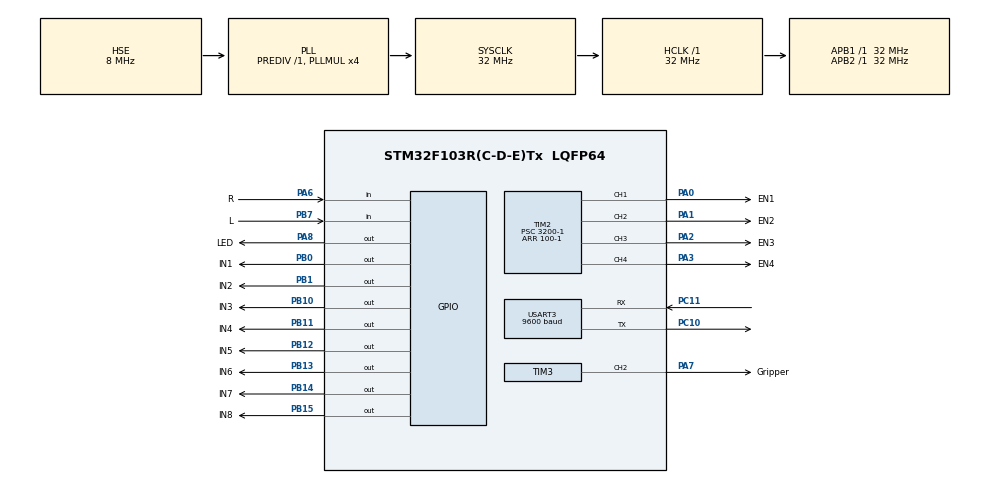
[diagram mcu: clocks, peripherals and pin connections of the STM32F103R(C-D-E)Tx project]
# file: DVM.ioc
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Mcu.Family=STM32F1
NVIC.USART3_IRQn=true\:0\:0\:false\:false\:true\:true\:true
PB10.GPIO_Speed=GPIO_SPEED_FREQ_MEDIUM
PC10.Signal=USART3_TX
PB14.GPIO_Label=IN7
PA6.GPIO_Label=R
PB0.GPIO_Label=IN1
TIM2.Channel-PWM\ Generation2\ CH2=TIM_CHANNEL_2
PB13.GPIO_Label=IN6
PB11.Signal=GPIO_Output
PB13.Signal=GPIO_Output
PB15.Signal=GPIO_Output
RCC.SYSCLKSource=RCC_SYSCLKSOURCE_PLLCLK
ProjectManager.StackSize=0x400
PD1-OSC_OUT.Signal=RCC_OSC_OUT
PB11.GPIO_Speed=GPIO_SPEED_FREQ_MEDIUM
USART3.BaudRate=9600
RCC.HCLKFreq_Value=32000000
RCC.APB2TimFreq_Value=32000000
TIM3.Period=10000-1
RCC.AHBFreq_Value=32000000
RCC.PLLMUL=RCC_PLL_MUL4
PB12.GPIO_Label=IN5
PA6.GPIO_PuPd=GPIO_PULLUP
PB1.GPIO_Speed=GPIO_SPEED_FREQ_MEDIUM
PA14.Mode=Serial_Wire
TIM3.Prescaler=32-1
PB1.GPIO_Label=IN2
NVIC.TIM2_IRQn=true\:0\:0\:false\:false\:true\:true\:true
PB7.Signal=GPIO_Input
PA8.Signal=GPIO_Output
TIM2.Channel-PWM\ Generation1\ CH1=TIM_CHANNEL_1
PB7.GPIO_Label=L
Mcu.Package=LQFP64
TIM2.Prescaler=3200-1
PB1.Signal=GPIO_Output
PA6.Signal=GPIO_Input
PA2.GPIO_Label=EN3
PC11.Mode=Asynchronous
RCC.APB1TimFreq_Value=32000000
TIM3.Pulse-PWM\ Generation2\ CH2=5000
PA8.GPIO_Speed=GPIO_SPEED_FREQ_MEDIUM
PA8.PinState=GPIO_PIN_SET
PA3.Signal=S_TIM2_CH4
PB7.GPIO_PuPd=GPIO_PULLUP
RCC.PLLSourceVirtual=RCC_PLLSOURCE_HSE
TIM2.Channel-PWM\ Generation4\ CH4=TIM_CHANNEL_4
PD1-OSC_OUT.Mode=HSE-External-Oscillator
PC11.Signal=USART3_RX
PC10.Mode=Asynchronous
PB11.GPIO_Label=IN4
PD0-OSC_IN.Signal=RCC_OSC_IN
PA0-WKUP.GPIO_Label=EN1
PA0-WKUP.Signal=S_TIM2_CH1_ETR
PB0.GPIO_Speed=GPIO_SPEED_FREQ_MEDIUM
PA13.Signal=SYS_JTMS-SWDIO
SH.S_TIM2_CH2.0=TIM2_CH2,PWM Generation2 CH2
PA8.GPIO_Label=LED
ProjectManager.TargetToolchain=Other Toolchains (GPDSC)
PB14.GPIO_Speed=GPIO_SPEED_FREQ_MEDIUM
PB10.GPIO_Label=IN3
PB13.GPIO_Speed=GPIO_SPEED_FREQ_MEDIUM
RCC.USBFreq_Value=32000000
PA1.Signal=S_TIM2_CH2
PB12.GPIO_Speed=GPIO_SPEED_FREQ_MEDIUM
PD0-OSC_IN.Mode=HSE-External-Oscillator
PB10.Signal=GPIO_Output
PB14.Signal=GPIO_Output
SH.S_TIM3_CH2.0=TIM3_CH2,PWM Generation2 CH2
board=custom
NVIC.TIM3_IRQn=true\:0\:0\:false\:false\:true\:true\:true
RCC.APB2Freq_Value=32000000
PB15.GPIO_Label=IN8
VP_TIM2_VS_ClockSourceINT.Mode=Internal
SH.S_TIM2_CH3.0=TIM2_CH3,PWM Generation3 CH3
PB15.GPIO_Speed=GPIO_SPEED_FREQ_MEDIUM
PA1.GPIO_Label=EN2
TIM2.Channel-PWM\ Generation3\ CH3=TIM_CHANNEL_3
TIM2.Period=100-1
PA13.Mode=Serial_Wire
Mcu.Name=STM32F103R(C-D-E)Tx
PA2.Signal=S_TIM2_CH3
RCC.SYSCLKFreq_VALUE=32000000
PA7.GPIO_Label=Gripper
USART3.VirtualMode=VM_ASYNC
SH.S_TIM2_CH1_ETR.0=TIM2_CH1,PWM Generation1 CH1
PA14.Signal=SYS_JTCK-SWCLK
ProjectManager.HeapSize=0x200
SH.S_TIM2_CH4.0=TIM2_CH4,PWM Generation4 CH4
NVIC.PriorityGroup=NVIC_PRIORITYGROUP_4
TIM3.Channel-PWM\ Generation2\ CH2=TIM_CHANNEL_2
RCC.APB1Freq_Value=32000000
PB0.Signal=GPIO_Output
PB12.Signal=GPIO_Output
PA3.GPIO_Label=EN4
PA7.Signal=S_TIM3_CH2

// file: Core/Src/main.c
/* USER CODE BEGIN Header */
/**
  ******************************************************************************
  * @file           : main.c
  * @brief          : Main program body
  ******************************************************************************
  * @attention
  *
  * <h2><center>&copy; Copyright (c) 2021 STMicroelectronics.
  * All rights reserved.</center></h2>
  *
  * This software component is licensed by ST under BSD 3-Clause license,
  * the "License"; You may not use this file except in compliance with the
  * License. You may obtain a copy of the License at:
  *                        opensource.org/licenses/BSD-3-Clause
  *
  ******************************************************************************
  */
/* USER CODE END Header */
#include "main.h"
#include "tim.h"
#include "usart.h"
#include "gpio.h"

/* USER CODE BEGIN Includes */
#include "l298n.h"
#include "Gripper.h"
/* USER CODE END Includes */

/* USER CODE BEGIN PD */

#define R HAL_GPIO_ReadPin(GPIOA, GPIO_PIN_6)
#define L HAL_GPIO_ReadPin(GPIOB, GPIO_PIN_7)
/* USER CODE END PD */

void SystemClock_Config(void);

/* USER CODE BEGIN 0 */

	//state variable
	uint8_t message[6] = "GG00GG";
	char Dstate = 'S';
	char Gstate = 'L';
	char Mode = 'M';		//Manual driving
	int  speed = 0;

void HAL_UART_RxCpltCallback(UART_HandleTypeDef *huart)
{
	if (huart->Instance == USART3)
	{
		//make sure the mode
		if(message[0] == 'M')
		{
			Mode = 'M';
		}

		if (message[0] == 'A')
		{
			Mode = 'A';
		}

		//set direction
		if(message[0] == 'D')
		{
			//Left
			if(message[2] == '0' && message[4] == '1')
			{
				Dstate = 'L';
			}

			//Right
			else if(message[2] == '2' && message[4] == '1')
			{
				Dstate = 'R';
			}

			//Forward
			else if(message[4] == '0')
			{
				Dstate = 'F';
			}

			//Backward
			else if(message[4] == '2')
			{
				Dstate = 'B';
			}

			//Stop
			else
			{
				Dstate = 'S';
			}

			setdict(Dstate);

		}

		//set speed
		if(message[0] == '#')
		{
			speed = (message[2] - '0') * 100 + (message[3] - '0') * 10 + (message[4] - '0') * 1;
			speed = speed - 100;

			setspeed(speed, Dstate);
		}

		//set Gripper or direction
		if(message[0] == 'G')
		{
			//CW
			if(message[2] == '2')
			{
				Dstate = 'C';
			}

			//AW
			else if(message[2] == '0')
			{
				Dstate = 'A';
			}

			//Get
			else if(message[2] == '1' && message[4] == '0')
			{
				Gstate = 'G';
			}

			//Lose
			else if(message[2] == '1' && message[4] == '2')
			{
				Gstate = 'L';
			}

			//Stop
			else
			{
				Dstate = 'S';
				Gstate = 'S';
			}

			setdict(Dstate);
            setGripper(Gstate);
		}
	}
}

/* USER CODE END 0 */

int main(void)
{

  /* MCU Configuration--------------------------------------------------------*/

  /* Reset of all peripherals, Initializes the Flash interface and the Systick. */
  HAL_Init();

  /* Configure the system clock */
  SystemClock_Config();

  /* Initialize all configured peripherals */
  MX_GPIO_Init();
  MX_TIM2_Init();
  MX_TIM3_Init();
  MX_USART3_UART_Init();
  /* USER CODE BEGIN 2 */

	//open L298N Enable Port
	HAL_TIM_PWM_Start(&htim2, TIM_CHANNEL_1);
	HAL_TIM_PWM_Start(&htim2, TIM_CHANNEL_2);
	HAL_TIM_PWM_Start(&htim2, TIM_CHANNEL_3);
	HAL_TIM_PWM_Start(&htim2, TIM_CHANNEL_4);

	//open gripper
	HAL_TIM_PWM_Start(&htim3, TIM_CHANNEL_2);

  /* USER CODE END 2 */

  /* Infinite loop */
  /* USER CODE BEGIN WHILE */
  while (1)
  {
	  HAL_UART_Receive_IT(&huart3, message, 6);
	  //Auto driving
	  if (Mode == 'A')
	  {
		  //forward
		  if (R == GPIO_PIN_SET && L == GPIO_PIN_SET)
		  {
			  Dstate = 'F';
			  speed = 20;

			  setdict(Dstate);
			  setspeed(speed, Dstate);
		  }

		  else if(L == GPIO_PIN_SET && R == GPIO_PIN_RESET)
		  {
			  Dstate = 'L';
			  speed = 20;

			  setdict(Dstate);
			  setspeed(speed, Dstate);
		  }

		  else if(L == GPIO_PIN_RESET && R == GPIO_PIN_SET)
		  {
			  Dstate = 'R';
			  speed = 20;

			  setdict(Dstate);
			  setspeed(speed, Dstate);
		  }

		  else
		  {
			  Dstate = 'B';
			  speed = 20;

			  setdict(Dstate);
			  setspeed(speed, Dstate);
		  }
	  }
    /* USER CODE END WHILE */

  }
}

void SystemClock_Config(void)
{
  RCC_OscInitTypeDef RCC_OscInitStruct = {0};
  RCC_ClkInitTypeDef RCC_ClkInitStruct = {0};

  /** Initializes the RCC Oscillators according to the specified parameters
  * in the RCC_OscInitTypeDef structure.
  */
  RCC_OscInitStruct.OscillatorType = RCC_OSCILLATORTYPE_HSE;
  RCC_OscInitStruct.HSEState = RCC_HSE_ON;
  RCC_OscInitStruct.HSEPredivValue = RCC_HSE_PREDIV_DIV1;
  RCC_OscInitStruct.HSIState = RCC_HSI_ON;
  RCC_OscInitStruct.PLL.PLLState = RCC_PLL_ON;
  RCC_OscInitStruct.PLL.PLLSource = RCC_PLLSOURCE_HSE;
  RCC_OscInitStruct.PLL.PLLMUL = RCC_PLL_MUL4;
  if (HAL_RCC_OscConfig(&RCC_OscInitStruct) != HAL_OK)
  {
    Error_Handler();
  }
  /** Initializes the CPU, AHB and APB buses clocks
  */
  RCC_ClkInitStruct.ClockType = RCC_CLOCKTYPE_HCLK|RCC_CLOCKTYPE_SYSCLK
                              |RCC_CLOCKTYPE_PCLK1|RCC_CLOCKTYPE_PCLK2;
  RCC_ClkInitStruct.SYSCLKSource = RCC_SYSCLKSOURCE_PLLCLK;
  RCC_ClkInitStruct.AHBCLKDivider = RCC_SYSCLK_DIV1;
  RCC_ClkInitStruct.APB1CLKDivider = RCC_HCLK_DIV1;
  RCC_ClkInitStruct.APB2CLKDivider = RCC_HCLK_DIV1;

  if (HAL_RCC_ClockConfig(&RCC_ClkInitStruct, FLASH_LATENCY_1) != HAL_OK)
  {
    Error_Handler();
  }
}

void Error_Handler(void)
{
  __disable_irq();
  while (1)
  {
  }
}

/************************ (C) COPYRIGHT STMicroelectronics *****END OF FILE****/
